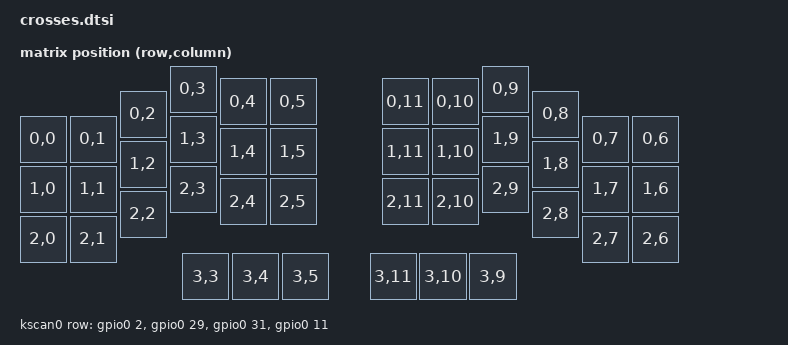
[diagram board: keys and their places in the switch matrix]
#include <dt-bindings/zmk/matrix_transform.h>
#include "physical_layouts.dtsi"

/ {
    crosses_layout: crosses_layout {
        compatible = "zmk,physical-layout";
        display-name = "crosses";

        kscan = <&kscan0>;
        transform = <&matrix_transform0>;

        keys  //                     w   h    x    y     rot    rx    ry
            = <&key_physical_attrs 100 100    0  100       0     0     0>
            , <&key_physical_attrs 100 100  100  100       0     0     0>
            , <&key_physical_attrs 100 100  200   50       0     0     0>
            , <&key_physical_attrs 100 100  300    0       0     0     0>
            , <&key_physical_attrs 100 100  400   25       0     0     0>
            , <&key_physical_attrs 100 100  500   25       0     0     0>
            , <&key_physical_attrs 100 100  725   25       0     0     0>
            , <&key_physical_attrs 100 100  825   25       0     0     0>
            , <&key_physical_attrs 100 100  925    0       0     0     0>
            , <&key_physical_attrs 100 100 1025   50       0     0     0>
            , <&key_physical_attrs 100 100 1125  100       0     0     0>
            , <&key_physical_attrs 100 100 1225  100       0     0     0>

            , <&key_physical_attrs 100 100    0  200       0     0     0>
            , <&key_physical_attrs 100 100  100  200       0     0     0>
            , <&key_physical_attrs 100 100  200  150       0     0     0>
            , <&key_physical_attrs 100 100  300  100       0     0     0>
            , <&key_physical_attrs 100 100  400  125       0     0     0>
            , <&key_physical_attrs 100 100  500  125       0     0     0>
            , <&key_physical_attrs 100 100  725  125       0     0     0>
            , <&key_physical_attrs 100 100  825  125       0     0     0>
            , <&key_physical_attrs 100 100  925  100       0     0     0>
            , <&key_physical_attrs 100 100 1025  150       0     0     0>
            , <&key_physical_attrs 100 100 1125  200       0     0     0>
            , <&key_physical_attrs 100 100 1225  200       0     0     0>

            , <&key_physical_attrs 100 100    0  300       0     0     0>
            , <&key_physical_attrs 100 100  100  300       0     0     0>
            , <&key_physical_attrs 100 100  200  250       0     0     0>
            , <&key_physical_attrs 100 100  300  200       0     0     0>
            , <&key_physical_attrs 100 100  400  225       0     0     0>
            , <&key_physical_attrs 100 100  500  225       0     0     0>
            , <&key_physical_attrs 100 100  725  225       0     0     0>
            , <&key_physical_attrs 100 100  825  225       0     0     0>
            , <&key_physical_attrs 100 100  925  200       0     0     0>
            , <&key_physical_attrs 100 100 1025  250       0     0     0>
            , <&key_physical_attrs 100 100 1125  300       0     0     0>
            , <&key_physical_attrs 100 100 1225  300       0     0     0>

            , <&key_physical_attrs 100 100  325  375       0     0     0>
            , <&key_physical_attrs 100 100  425  375       0     0     0>
            , <&key_physical_attrs 100 100  525  375       0     0     0>
            , <&key_physical_attrs 100 100  700  375       0     0     0>
            , <&key_physical_attrs 100 100  800  375       0     0     0>
            , <&key_physical_attrs 100 100  900  375       0     0     0>
            ;
    };


    chosen {
        zmk,kscan = &kscan0;
        zmk,physical-layout = &crosses_layout;
    };

    default_transform: keymap_transform_0 {
		compatible = "zmk,matrix-transform";
        columns = <12>;
        rows = <4>;

        map = <
			RC(0,0) RC(0,1) RC(0,2) RC(0,3) RC(0,4) RC(0,5)                	RC(0,11) RC(0,10) RC(0,9) RC(0,8) RC(0,7) RC(0,6)  
			RC(1,0) RC(1,1) RC(1,2) RC(1,3) RC(1,4) RC(1,5)              	RC(1,11) RC(1,10) RC(1,9) RC(1,8) RC(1,7) RC(1,6) 
			RC(2,0) RC(2,1) RC(2,2) RC(2,3) RC(2,4) RC(2,5)              	RC(2,11) RC(2,10) RC(2,9) RC(2,8) RC(2,7) RC(2,6) 
			               			RC(3,3) RC(3,4) RC(3,5)               	RC(3,11) RC(3,10) RC(3,9)            
     >;
};
	
    kscan0: kscan {
        compatible = "zmk,kscan-gpio-matrix";
        label = "KSCAN";

        diode-direction = "row2col";
		row-gpios
            = <&gpio0 2 GPIO_ACTIVE_HIGH>
            , <&gpio0 29 GPIO_ACTIVE_HIGH>
            , <&gpio0 31 GPIO_ACTIVE_HIGH>
	        , <&gpio0 11 GPIO_ACTIVE_HIGH>
	      
            ;
    };
 
};


&crosses_layout{

	transform = <&default_transform>;

	kscan = <&kscan0>;

};
